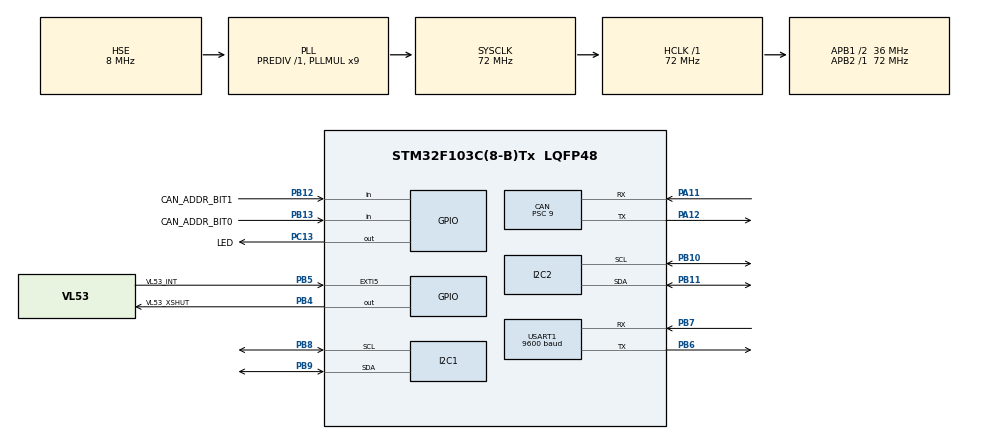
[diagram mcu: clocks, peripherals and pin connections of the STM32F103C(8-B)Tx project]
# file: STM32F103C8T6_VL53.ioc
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CAN.AutoBusOff=ENABLE
CAN.AutoRetransmission=ENABLE
CAN.BS1=CAN_BS1_5TQ
CAN.BS2=CAN_BS2_2TQ
CAN.CalculateBaudRate=500000
CAN.CalculateTimeBit=2000
CAN.CalculateTimeQuantum=250.0
CAN.Prescaler=9
CAN.ReceiveFifoLocked=DISABLE
CAN.SJW=CAN_SJW_1TQ
CAN.TransmitFifoPriority=DISABLE
Dma.Request0=USART1_TX
Dma.USART1_TX.0.Direction=DMA_MEMORY_TO_PERIPH
Dma.USART1_TX.0.Instance=DMA1_Channel4
Dma.USART1_TX.0.MemDataAlignment=DMA_MDATAALIGN_BYTE
Dma.USART1_TX.0.MemInc=DMA_MINC_ENABLE
Dma.USART1_TX.0.Mode=DMA_NORMAL
Dma.USART1_TX.0.PeriphDataAlignment=DMA_PDATAALIGN_BYTE
Dma.USART1_TX.0.PeriphInc=DMA_PINC_DISABLE
Dma.USART1_TX.0.Priority=DMA_PRIORITY_VERY_HIGH
FREERTOS.Tasks01=VL53_T,24,256,VL53_F,Default,NULL,Dynamic,NULL,NULL;CAN_T,24,256,CAN_F,Default,NULL,Dynamic,NULL,NULL;OLED096_T,8,256,OLED096_F,Default,NULL,Dynamic,NULL,NULL
FREERTOS.configTOTAL_HEAP_SIZE=8192
FREERTOS.configUSE_NEWLIB_REENTRANT=1
I2C1.I2C_Mode=I2C_Fast
I2C2.I2C_Mode=I2C_Fast
Mcu.Family=STM32F1
Mcu.Name=STM32F103C(8-B)Tx
Mcu.Package=LQFP48
NVIC.DMA1_Channel4_IRQn=true\:5\:0\:false\:false\:true\:true\:true\:true\:true
NVIC.EXTI9_5_IRQn=true\:5\:0\:false\:false\:true\:true\:true\:true\:true
NVIC.PriorityGroup=NVIC_PRIORITYGROUP_4
NVIC.TIM4_IRQn=true\:15\:0\:false\:false\:true\:false\:false\:true\:true
NVIC.TimeBase=TIM4_IRQn
NVIC.TimeBaseIP=TIM4
NVIC.USART1_IRQn=true\:5\:0\:false\:false\:true\:true\:true\:true\:true
NVIC.USB_LP_CAN1_RX0_IRQn=true\:5\:0\:false\:false\:true\:true\:true\:true\:true
PA11.Mode=CAN_Activate
PA11.Signal=CAN_RX
PA12.Mode=CAN_Activate
PA12.Signal=CAN_TX
PA13.Mode=Serial_Wire
PA13.Signal=SYS_JTMS-SWDIO
PA14.Mode=Serial_Wire
PA14.Signal=SYS_JTCK-SWCLK
PB10.Mode=I2C
PB10.Signal=I2C2_SCL
PB11.Mode=I2C
PB11.Signal=I2C2_SDA
PB12.GPIO_Label=CAN_ADDR_BIT1
PB12.GPIO_PuPd=GPIO_PULLUP
PB12.Signal=GPIO_Input
PB13.GPIO_Label=CAN_ADDR_BIT0
PB13.GPIO_PuPd=GPIO_PULLUP
PB13.Signal=GPIO_Input
PB4.GPIO_Label=VL53_XSHUT
PB4.Signal=GPIO_Output
PB5.GPIO_Label=VL53_INT
PB5.GPIO_ModeDefaultEXTI=GPIO_MODE_IT_FALLING
PB5.GPIO_PuPd=GPIO_PULLUP
PB5.Signal=GPXTI5
PB6.Mode=Asynchronous
PB6.Signal=USART1_TX
PB7.GPIO_PuPd=GPIO_PULLUP
PB7.Mode=Asynchronous
PB7.Signal=USART1_RX
PB8.Mode=I2C
PB8.Signal=I2C1_SCL
PB9.Mode=I2C
PB9.Signal=I2C1_SDA
PC13-TAMPER-RTC.GPIO_Label=LED
PC13-TAMPER-RTC.Signal=GPIO_Output
PD0-OSC_IN.Mode=HSE-External-Oscillator
PD0-OSC_IN.Signal=RCC_OSC_IN
PD1-OSC_OUT.Mode=HSE-External-Oscillator
PD1-OSC_OUT.Signal=RCC_OSC_OUT
ProjectManager.HeapSize=0x200
ProjectManager.StackSize=0x400
ProjectManager.TargetToolchain=STM32CubeIDE
RCC.ADCPresc=RCC_ADCPCLK2_DIV6
RCC.AHBFreq_Value=72000000
RCC.APB1CLKDivider=RCC_HCLK_DIV2
RCC.APB1Freq_Value=36000000
RCC.APB1TimFreq_Value=72000000
RCC.APB2CLKDivider=RCC_HCLK_DIV1
RCC.APB2Freq_Value=72000000
RCC.APB2TimFreq_Value=72000000
RCC.HCLKFreq_Value=72000000
RCC.HSE_VALUE=8000000
RCC.HSI_VALUE=8000000
RCC.PLLMUL=RCC_PLL_MUL9
RCC.PLLSourceVirtual=RCC_PLLSOURCE_HSE
RCC.SYSCLKFreq_VALUE=72000000
RCC.SYSCLKSource=RCC_SYSCLKSOURCE_PLLCLK
RCC.USBFreq_Value=72000000
USART1.BaudRate=9600
USART1.Mode=MODE_TX_RX
USART1.Parity=PARITY_ODD
USART1.StopBits=STOPBITS_1
USART1.VirtualMode=VM_ASYNC
USART1.WordLength=WORDLENGTH_9B
VP_FREERTOS_VS_CMSIS_V2.Mode=CMSIS_V2
VP_SYS_VS_tim4.Mode=TIM4
board=custom

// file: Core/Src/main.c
/* USER CODE BEGIN Header */
/**
  ******************************************************************************
  * @file           : main.c
  * @brief          : Main program body
  ******************************************************************************
  * @attention
  *
  * Copyright (c) 2026 STMicroelectronics.
  * All rights reserved.
  *
  * This software is licensed under terms that can be found in the LICENSE file
  * in the root directory of this software component.
  * If no LICENSE file comes with this software, it is provided AS-IS.
  *
  ******************************************************************************
  */
/* USER CODE END Header */
#include "main.h"
#include "cmsis_os.h"
#include "can.h"
#include "dma.h"
#include "i2c.h"
#include "usart.h"
#include "gpio.h"

void SystemClock_Config(void);
void MX_FREERTOS_Init(void);

int main(void)
{

  /* MCU Configuration--------------------------------------------------------*/

  /* Reset of all peripherals, Initializes the Flash interface and the Systick. */
  HAL_Init();

  /* Configure the system clock */
  SystemClock_Config();

  /* Initialize all configured peripherals */
  MX_GPIO_Init();
  MX_DMA_Init();
  MX_I2C1_Init();
  MX_I2C2_Init();
  MX_CAN_Init();
  MX_USART1_UART_Init();

  /* Init scheduler */
  osKernelInitialize();  /* Call init function for freertos objects (in cmsis_os2.c) */
  MX_FREERTOS_Init();

  /* Start scheduler */
  osKernelStart();

  /* We should never get here as control is now taken by the scheduler */

  /* Infinite loop */
  while (1)
  {

  }
}

void SystemClock_Config(void)
{
  RCC_OscInitTypeDef RCC_OscInitStruct = {0};
  RCC_ClkInitTypeDef RCC_ClkInitStruct = {0};

  /** Initializes the RCC Oscillators according to the specified parameters
  * in the RCC_OscInitTypeDef structure.
  */
  RCC_OscInitStruct.OscillatorType = RCC_OSCILLATORTYPE_HSE;
  RCC_OscInitStruct.HSEState = RCC_HSE_ON;
  RCC_OscInitStruct.HSEPredivValue = RCC_HSE_PREDIV_DIV1;
  RCC_OscInitStruct.HSIState = RCC_HSI_ON;
  RCC_OscInitStruct.PLL.PLLState = RCC_PLL_ON;
  RCC_OscInitStruct.PLL.PLLSource = RCC_PLLSOURCE_HSE;
  RCC_OscInitStruct.PLL.PLLMUL = RCC_PLL_MUL9;
  if (HAL_RCC_OscConfig(&RCC_OscInitStruct) != HAL_OK)
  {
    Error_Handler();
  }

  /** Initializes the CPU, AHB and APB buses clocks
  */
  RCC_ClkInitStruct.ClockType = RCC_CLOCKTYPE_HCLK|RCC_CLOCKTYPE_SYSCLK
                              |RCC_CLOCKTYPE_PCLK1|RCC_CLOCKTYPE_PCLK2;
  RCC_ClkInitStruct.SYSCLKSource = RCC_SYSCLKSOURCE_PLLCLK;
  RCC_ClkInitStruct.AHBCLKDivider = RCC_SYSCLK_DIV1;
  RCC_ClkInitStruct.APB1CLKDivider = RCC_HCLK_DIV2;
  RCC_ClkInitStruct.APB2CLKDivider = RCC_HCLK_DIV1;

  if (HAL_RCC_ClockConfig(&RCC_ClkInitStruct, FLASH_LATENCY_2) != HAL_OK)
  {
    Error_Handler();
  }
}

void HAL_TIM_PeriodElapsedCallback(TIM_HandleTypeDef *htim)
{
  /* USER CODE BEGIN Callback 0 */
static uint16_t c200ms ;
 if(++c200ms>200){
	 c200ms =0;
	 HAL_GPIO_TogglePin(LED_GPIO_Port, LED_Pin);
 }
  /* USER CODE END Callback 0 */
  if (htim->Instance == TIM4)
  {
    HAL_IncTick();
  }
}

void Error_Handler(void)
{
  __disable_irq();
  while (1)
  {
  }
}

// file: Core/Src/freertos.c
/* USER CODE BEGIN Header */
/**
  ******************************************************************************
  * File Name          : freertos.c
  * Description        : Code for freertos applications
  ******************************************************************************
  * @attention
  *
  * Copyright (c) 2026 STMicroelectronics.
  * All rights reserved.
  *
  * This software is licensed under terms that can be found in the LICENSE file
  * in the root directory of this software component.
  * If no LICENSE file comes with this software, it is provided AS-IS.
  *
  ******************************************************************************
  */
/* USER CODE END Header */

#include "FreeRTOS.h"
#include "task.h"
#include "main.h"
#include "cmsis_os.h"

/* USER CODE BEGIN Includes */
#include "VL53L.h"
#include "oled_ssd1306.h"
#include "can_vl53.h"
#include "plc_mitsu.h"
/* USER CODE END Includes */

/* Definitions for VL53_T */
osThreadId_t VL53_THandle;
const osThreadAttr_t VL53_T_attributes = {
  .name = "VL53_T",
  .stack_size = 256 * 4,
  .priority = (osPriority_t) osPriorityNormal,
};
/* Definitions for CAN_T */
osThreadId_t CAN_THandle;
const osThreadAttr_t CAN_T_attributes = {
  .name = "CAN_T",
  .stack_size = 256 * 4,
  .priority = (osPriority_t) osPriorityNormal,
};
/* Definitions for OLED096_T */
osThreadId_t OLED096_THandle;
const osThreadAttr_t OLED096_T_attributes = {
  .name = "OLED096_T",
  .stack_size = 256 * 4,
  .priority = (osPriority_t) osPriorityLow,
};

void VL53_F(void *argument);
void CAN_F(void *argument);
void OLED096_F(void *argument);

void MX_FREERTOS_Init(void); /* (MISRA C 2004 rule 8.1) */

void MX_FREERTOS_Init(void) {

  /* Create the thread(s) */
  /* creation of VL53_T */
  VL53_THandle = osThreadNew(VL53_F, NULL, &VL53_T_attributes);

  /* creation of CAN_T */
  CAN_THandle = osThreadNew(CAN_F, NULL, &CAN_T_attributes);

  /* creation of OLED096_T */
  OLED096_THandle = osThreadNew(OLED096_F, NULL, &OLED096_T_attributes);

}

void VL53_F(void *argument)
{
  /* USER CODE BEGIN VL53_F */
  VL53L_Init();
  /* Infinite loop */
  for(;;)
  {
    VL53L_Task_Sensor();
    osDelay(20);
  }
  /* USER CODE END VL53_F */
}

void CAN_F(void *argument)
{
  /* USER CODE BEGIN CAN_F */
  osDelay(100);
  if (MASTER) {
    CAN_VL53_Init(0);
    PLC_Mitsu_Init();
  } else {
    uint8_t hw_node_id = CAN_Read_Hardware_NodeID();
    g_vl53_app.node_id = hw_node_id;
    CAN_VL53_Init(hw_node_id);
  }

  /* Infinite loop */
  for(;;)
  {
    CAN_VL53_Task_Run();
    if (MASTER) {
      PLC_Mitsu_Task_Run();
    }
    osDelay(10);
  }
  /* USER CODE END CAN_F */
}

void OLED096_F(void *argument)
{
  /* USER CODE BEGIN OLED096_F */
  osDelay(200);
  OLED_Init();
  /* Infinite loop */
  for(;;)
  {
    OLED_Task_Run();
    osDelay(200);
  }
  /* USER CODE END OLED096_F */
}
